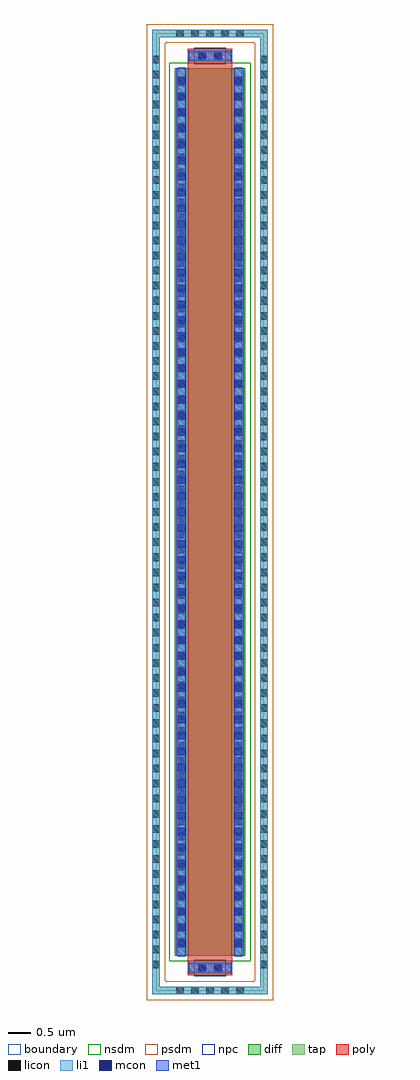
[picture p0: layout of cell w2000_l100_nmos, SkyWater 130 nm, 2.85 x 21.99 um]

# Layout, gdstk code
import gdstk
lib = gdstk.Library(unit=1e-6, precision=1e-09)
def R(c, l, rs):  # rectangles x0, y0, x1, y1
    for r in rs: c.add(gdstk.rectangle(r[:2], r[2:], *l))
def A(c, l, x, y, w, h, nx, ny, dx, dy):  # array of equal rectangles
    R(c, l, [(x+i*dx, y+j*dy, x+i*dx+w, y+j*dy+h) for i in range(nx) for j in range(ny)])
diff = (65, 20)
tap = (65, 44)
poly = (66, 20)
licon = (66, 44)
li1 = (67, 20)
mcon = (67, 44)
met1 = (68, 20)
nsdm = (93, 44)
psdm = (94, 20)
npc = (95, 20)
boundary = (235, 4)

sky130_fd_pr__nfet_01v8 = lib.new_cell('sky130_fd_pr__nfet_01v8')

w2000_l100_nmos = lib.new_cell('w2000_l100_nmos')
R(w2000_l100_nmos, diff, [(-0.79,-10,0.79,10)])
R(w2000_l100_nmos, tap, [(-1.3,-10.87,1.3,-10.7), (-1.3,-10.7,-1.13,10.7), (1.13,-10.7,1.3,10.7), (-1.3,10.7,1.3,10.87)])
R(w2000_l100_nmos, poly, [(-0.5,-10.44,0.5,10.44)])
A(w2000_l100_nmos, licon, -0.765, -10.87, 0.17, 0.17, 5, 2, 0.34, 21.57)
A(w2000_l100_nmos, licon, -1.3, -10.285, 0.17, 0.17, 1, 61, 0, 0.34)
A(w2000_l100_nmos, licon, 1.13, -10.285, 0.17, 0.17, 1, 61, 0, 0.34)
A(w2000_l100_nmos, licon, -0.73, -9.775, 0.17, 0.17, 1, 58, 0, 0.34)
A(w2000_l100_nmos, licon, 0.56, -9.775, 0.17, 0.17, 1, 58, 0, 0.34)
R(w2000_l100_nmos, licon, [(-0.255,-10.36,-0.085,-10.19), (0.085,-10.36,0.255,-10.19), (-0.255,10.19,-0.085,10.36), (0.085,10.19,0.255,10.36)])
R(w2000_l100_nmos, li1, [(-1.3,-10.87,1.3,-10.7), (-1.3,-10.7,-1.13,10.7), (1.13,-10.7,1.3,10.7), (-0.5,-10.36,0.5,-10.19), (-0.73,-10.02,-0.56,10.02), (0.56,-10.02,0.73,10.02), (-0.5,10.19,0.5,10.36), (-1.3,10.7,1.3,10.87)])
A(w2000_l100_nmos, mcon, -0.73, -9.805, 0.17, 0.17, 1, 55, 0, 0.36)
A(w2000_l100_nmos, mcon, 0.56, -9.805, 0.17, 0.17, 1, 55, 0, 0.36)
R(w2000_l100_nmos, mcon, [(-0.265,-10.36,-0.095,-10.19), (0.095,-10.36,0.265,-10.19), (-0.265,10.19,-0.095,10.36), (0.095,10.19,0.265,10.36)])
R(w2000_l100_nmos, met1, [(-0.48,-10.39,0.48,-10.16), (-0.76,-10,-0.53,10), (0.53,-10,0.76,10), (-0.48,10.16,0.48,10.39)])
R(w2000_l100_nmos, nsdm, [(-0.915,-10.125,0.915,10.125)])
R(w2000_l100_nmos, psdm, [(-1.425,-10.995,1.425,-10.575), (-1.425,-10.575,-1.005,10.575), (1.005,-10.575,1.425,10.575), (-1.425,10.575,1.425,10.995)])
R(w2000_l100_nmos, npc, [(-0.355,-10.46,0.355,-10.09), (-0.355,10.09,0.355,10.46)])
R(w2000_l100_nmos, boundary, [(-1.215,-10.785,1.215,10.785)])
w2000_l100_nmos.add(gdstk.Reference(sky130_fd_pr__nfet_01v8, (0,0)))

lib.write_gds('w2000_l100_nmos.gds')
